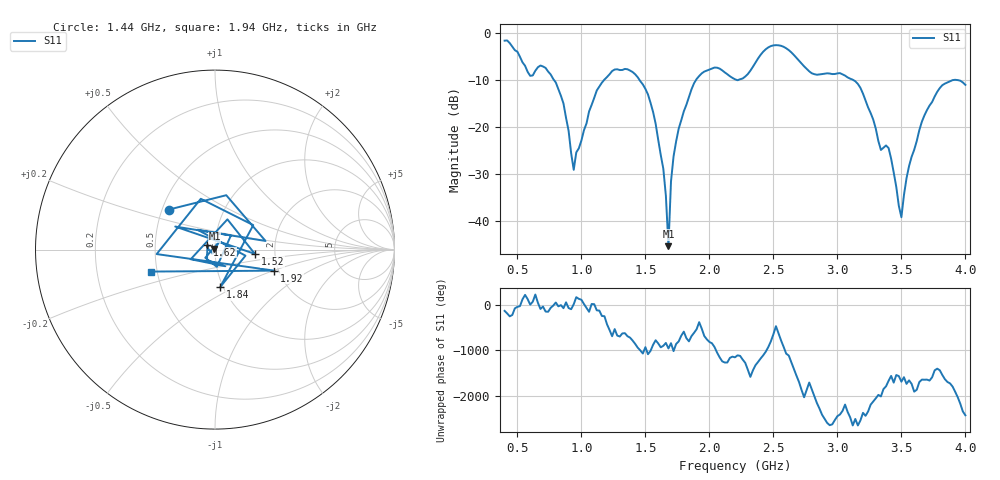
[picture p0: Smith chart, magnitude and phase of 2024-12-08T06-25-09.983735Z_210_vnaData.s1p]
!Created with skrf (http://scikit-rf.org).
# Hz S RI R 50.0
!freq ReS11 ImS11
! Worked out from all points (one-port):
!   181 points, 400 MHz to 4 GHz, reference 50 ohm
!   lowest |S11| = -45.3 dB at 1.68 GHz (marker M1), VSWR 1.01, Z = 49.7 + j0.462 ohm
!   |S11| at or under -10 dB: 787.3 MHz to 1.175 GHz (388.2 MHz wide, 39.6 % of centre); 1.455 GHz to 1.894 GHz (438.7 MHz wide, 26.2 % of centre); 3.127 GHz to 3.898 GHz (770.4 MHz wide, 21.9 % of centre) (the widest 3 of 4)
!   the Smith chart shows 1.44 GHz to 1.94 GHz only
!   S11 on the Smith chart (normalised r, x): 1.44 GHz: 0.54, +0.27; 1.52 GHz: 1.57, -0.08; 1.62 GHz: 0.92, +0.05; 1.84 GHz: 0.97, -0.42; 1.92 GHz: 1.90, -0.51; 1.94 GHz: 0.47, -0.13
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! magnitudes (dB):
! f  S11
! 400 MHz  -1.6
! 600 MHz  -9.1
! 720 MHz  -7.4
! 860 MHz  -15.0
! 940 MHz  -29.1
! 1.12 GHz  -12.2
! 1.3 GHz  -7.8
! 1.44 GHz  -9.4
! 1.52 GHz  -13.0
! 1.62 GHz  -25.9
! 1.66 GHz  -34.6
! 1.68 GHz  -45.3
! 1.7 GHz  -31.5
! 1.76 GHz  -20.3
! 1.84 GHz  -13.6
! 1.92 GHz  -9.1
! 1.94 GHz  -8.5
! 2.2 GHz  -9.8
! 2.48 GHz  -2.7
! 2.66 GHz  -4.6
! 3.1 GHz  -9.7
! 3.2 GHz  -12.9
! 3.34 GHz  -24.8
! 3.4 GHz  -24.4
! 3.5 GHz  -39.2
! 3.56 GHz  -28.2
! 3.8 GHz  -11.7
! 4 GHz  -11.0
